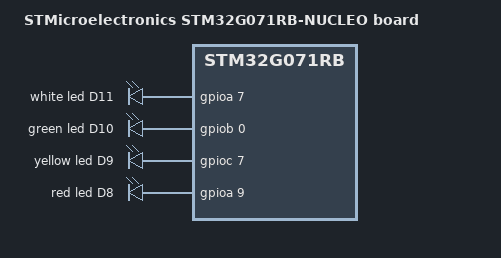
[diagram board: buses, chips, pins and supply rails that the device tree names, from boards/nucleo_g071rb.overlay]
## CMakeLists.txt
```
cmake_minimum_required(VERSION 3.20.0)

find_package(Zephyr REQUIRED HINTS $ENV{ZEPHYR_BASE}) 
project(thread_app)

# if (CONFIG_BUILD_MAIN_APP)
#     target_sources(app PRIVATE src/main.c)
#     message(STATUS "Building main application")
# else()
#   message(FATAL_ERROR "Main application build is disabled. Set CONFIG_BUILD_MAIN_APP=y in prj.conf.")
# endif()

zephyr_library_sources_ifdef(CONFIG_BUILD_MAIN_APP src/main.c)

zephyr_library_sources_ifdef(CONFIG_BUILD_THREAD_APP src/thread.c)
```

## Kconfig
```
config BUILD_MAIN_APP
    bool "build main application"
    default n
    help
        Build the main application.

config BUILD_THREAD_APP
    bool "build thread application"
    default n
    help
        Build the Thread application.

source "Kconfig.zephyr"
```

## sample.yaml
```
# Sample configuration for a Thread application using Zephyr RTOS
sample:
  description: A Thread application demonstrating basic functionality
  name: Thread Application Sample
tests:
  sample.thread_app:
    tags:
      - gpio
    filter: dt_enabled_alias_with_parent_compat("led0", "gpio-leds") and
            dt_enabled_alias_with_parent_compat("led1", "gpio-leds")
            dt_enabled_alias_with_parent_compat("led2", "gpio-leds") and
            dt_enabled_alias_with_parent_compat("led3", "gpio-leds")
    integration_platforms:
      - nrf52840dk/nrf52840
      - nucleo_g071rb

# west build -p -b nucleo_g071rb thread_app/

# west build -p -b nrf52840dk/nrf52840 thread_app/
# west flash --runner jlink  
```

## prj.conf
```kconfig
# Enable GPIO
CONFIG_GPIO=y

# Enable Thread support
CONFIG_BUILD_MAIN_APP=n
CONFIG_BUILD_THREAD_APP=y
```

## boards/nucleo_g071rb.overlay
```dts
/{
    model = "STMicroelectronics STM32G071RB-NUCLEO board";
	compatible = "st,stm32g071rb-nucleo";
    
    leds: leds {
        compatible = "gpio-leds";
        white: led_0 {
            gpios = <&gpioa 7 GPIO_ACTIVE_HIGH>;
            label = " white led D11";
        };
    
        green: led_1 {
			gpios = <&gpiob 0 GPIO_ACTIVE_HIGH>;
			label = "green led D10";
		};
        yellow: led_2 {
           gpios = <&gpioc 7 GPIO_ACTIVE_HIGH>;
            label = "yellow led D9";
        };

        red: led_3 {
            gpios = <&gpioa 9 GPIO_ACTIVE_HIGH>;
            label = " red led D8";
        };
    };

    aliases {
        led0 = &white;
        led1 = &green;
        led2 = &yellow;
        led3 = &red;
    };
};
```

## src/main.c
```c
#include <stdio.h>
#include <zephyr/kernel.h>
#include <zephyr/drivers/gpio.h>
#include <zephyr/sys/printk.h>

#define STACKSIZE 256


#define SLEEP_TIME_MS   1000

/* get devicetree node identifier through alias. */
#define LED0_NODE DT_ALIAS(led0)
#define LED1_NODE DT_ALIAS(led1)
#define LED2_NODE DT_ALIAS(led2)
#define LED3_NODE DT_ALIAS(led3)
// or alternatively #define LEDx_NODE DT_NODELABEL(color)

#if !DT_NODE_HAS_STATUS_OKAY(LED0_NODE) || \
	!DT_NODE_HAS_STATUS_OKAY(LED1_NODE) || \
	!DT_NODE_HAS_STATUS_OKAY(LED2_NODE) || \
	!DT_NODE_HAS_STATUS_OKAY(LED3_NODE)
#error "Unsupported board: led devicetree alias is not defined"
#endif

static const struct gpio_dt_spec white = GPIO_DT_SPEC_GET(LED0_NODE, gpios);
static const struct gpio_dt_spec green = GPIO_DT_SPEC_GET(LED1_NODE, gpios);
static const struct gpio_dt_spec yellow = GPIO_DT_SPEC_GET(LED2_NODE, gpios);
static const struct gpio_dt_spec red = GPIO_DT_SPEC_GET(LED3_NODE, gpios);


int main(void)
{
	int ret;
	bool led_state = true;

	/* configure GPIO pins for LEDs */

	if (!gpio_is_ready_dt(&yellow)) {

		printk("LED YELLOW not working ");

		return 0;
	}

	if (!gpio_is_ready_dt(&green)) {

		printk("LED GREEN not working ");

		return 0;
	}

	if (!gpio_is_ready_dt(&red)) {

		printk("LED RED not working ");

		return 0;
	}

	if (!gpio_is_ready_dt(&white)) {
		printk("LED WHITE not working ");

		return 0;
	}

	/* Set GPIO pins as outputs */

	ret = gpio_pin_configure_dt(&yellow, GPIO_OUTPUT_ACTIVE); // GPIO_OUTPUT_INACTIVE
	if (ret < 0) {

		printk("---- LED YELLOW configuration failed ---- ");
		return 0;
	}

	ret = gpio_pin_configure_dt(&green, GPIO_OUTPUT_ACTIVE);
	if (ret < 0) {
		printk("---- LED GREEN configuration failed ---- ");

		return 0;
	}

	ret = gpio_pin_configure_dt(&red, GPIO_OUTPUT_ACTIVE);
	if (ret < 0) {
		printk("---- LED RED configuration failed ---- ");
		return 0;
	}

	ret = gpio_pin_configure_dt(&white, GPIO_OUTPUT_ACTIVE);
	if (ret < 0) {

		printk("---- LED WHITE configuration failed ---- ");

		return 0;
	}


	while (1) {
		ret = gpio_pin_toggle_dt(&yellow);
		if (ret < 0) {

			printk("***** LED YELLOW not toggled****");
			return 0;
		}
		k_msleep(SLEEP_TIME_MS); // blink every 1 second

		ret = gpio_pin_toggle_dt(&green);
		if (ret < 0) {

			printk("***** LED GREEN not toggled****");
			return 0;
		}
		k_msleep(2 * SLEEP_TIME_MS); // blink every 2 seconds

		ret = gpio_pin_toggle_dt(&red);
		if (ret < 0) {

			printk("***** LED RED not toggled****");
			return 0;
		}
		k_msleep(3 * SLEEP_TIME_MS); // blink every 3 seconds

		ret = gpio_pin_toggle_dt(&white);
		if (ret < 0) {

			printk("***** LED WHITE not toggled****");
			return 0;
		}

		led_state = !led_state;
		printk("LED state: %s\n", led_state ? "ON" : "OFF");
		k_msleep(4 * SLEEP_TIME_MS); // blink every 4 seconds
	}

	return 0;
}
```

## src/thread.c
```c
#include <stdio.h>
#include <zephyr/kernel.h>
#include <zephyr/drivers/gpio.h>
#include <zephyr/sys/printk.h>

#define STACKSIZE 256

/* priority of each thread */
// #define THREAD0_PRIORITY 4
// #define THREAD1_PRIORITY 5
// #define THREAD2_PRIORITY 6
// #define THREAD3_PRIORITY 7
#define THREAD_PRIORITY 2

#define SLEEP_TIME_MS   1000

/* get devicetree node identifier through alias. */
#define LED0_NODE DT_ALIAS(led0)
#define LED1_NODE DT_ALIAS(led1)
#define LED2_NODE DT_ALIAS(led2)
#define LED3_NODE DT_ALIAS(led3)
// or  #define LED_NODE DT_NODELABEL(yellow)

#if !DT_NODE_HAS_STATUS_OKAY(LED0_NODE) || \
	!DT_NODE_HAS_STATUS_OKAY(LED1_NODE) || \
	!DT_NODE_HAS_STATUS_OKAY(LED2_NODE) || \
	!DT_NODE_HAS_STATUS_OKAY(LED3_NODE)
#error "Unsupported board: led devicetree alias is not defined"
#endif

static const struct gpio_dt_spec white = GPIO_DT_SPEC_GET(LED0_NODE, gpios);
static const struct gpio_dt_spec green = GPIO_DT_SPEC_GET(LED1_NODE, gpios);
static const struct gpio_dt_spec yellow = GPIO_DT_SPEC_GET(LED2_NODE, gpios);
static const struct gpio_dt_spec red = GPIO_DT_SPEC_GET(LED3_NODE, gpios);


void thread0(void)
{	
	int ret;
	bool led_state = true;

	if (!gpio_is_ready_dt(&white)) {
		printk("LED WHITE not working ");
	}

	ret = gpio_pin_configure_dt(&white, GPIO_OUTPUT_ACTIVE);
	if (ret < 0) {
		printk("---- LED WHITE configuration failed ---- ");
	}

	while (1) {

          printk("Hello, I am thread0\n");

		  ret = gpio_pin_toggle_dt(&white);

		  if (ret < 0) {

			printk("***** LED WHITE not toggled****");
		}

		led_state = !led_state;
		printk(" 1 - LED WHITE state: %s\n", led_state ? "ON" : "OFF");
		k_msleep(SLEEP_TIME_MS);
	}
}

void thread1(void)
{

	int ret;
	bool led_state = true;

	if (!gpio_is_ready_dt(&green)) {
		
		printk("LED GREEN not working ");
	}

	ret = gpio_pin_configure_dt(&green, GPIO_OUTPUT_ACTIVE);
	if (ret < 0) {
		printk("---- LED GREEN configuration failed ---- ");
	}

	while (1) {
        printk("Hello, I am thread1\n");

 		ret = gpio_pin_toggle_dt(&green);

		  if (ret < 0) {
			printk("***** LED GREEN not toggled****");
		}

		led_state = !led_state;
		printk("2 - LED GREEN state : %s\n", led_state ? "ON" : "OFF");
		k_msleep(SLEEP_TIME_MS*2);
	}
}

void thread2(void)
{
	int ret;
	bool led_state = true;

	if (!gpio_is_ready_dt(&yellow)) {

		printk("LED YELLOW not working ");
	}

	ret = gpio_pin_configure_dt(&yellow, GPIO_OUTPUT_ACTIVE);
	if (ret < 0) {
		printk("---- LED YELLOW configuration failed ---- ");
	}

	while (1) {

          printk("Hello, I am thread2\n");

		  ret = gpio_pin_toggle_dt(&yellow);

		  if (ret < 0) {
			printk("***** LED YELLOW not toggled****");
		}

		led_state = !led_state;
		printk("3 - LED YELLOW state: %s\n", led_state ? "ON" : "OFF");
		k_msleep(SLEEP_TIME_MS*3);
	}
}

void thread3(void)
{
	int ret;
	bool led_state = true;

	if (!gpio_is_ready_dt(&red)) {
		printk(" LED RED not working ");
	}

	ret = gpio_pin_configure_dt(&red, GPIO_OUTPUT_ACTIVE);
	if (ret < 0) {
		printk("---- LED RED configuration failed ---- ");
	}

	while (1) {

          printk("Hello, I am thread3\n");

		  ret = gpio_pin_toggle_dt(&red);

		  if (ret < 0) {
			printk("***** LED RED not toggled****");
		}

		led_state = !led_state;
		printk("4 - LED RED state: %s\n", led_state ? "ON" : "OFF");
		k_msleep(SLEEP_TIME_MS*4);
	}
}

// behavior is the same with different priorities

K_THREAD_DEFINE(thread0_id, STACKSIZE, thread0, NULL, NULL, NULL,
		THREAD_PRIORITY, 0, 0);
K_THREAD_DEFINE(thread1_id, STACKSIZE, thread1, NULL, NULL, NULL,
		THREAD_PRIORITY, 0, 0);
K_THREAD_DEFINE(thread2_id, STACKSIZE, thread2, NULL, NULL, NULL,
		THREAD_PRIORITY, 0, 0);
K_THREAD_DEFINE(thread3_id, STACKSIZE, thread3, NULL, NULL, NULL,
		THREAD_PRIORITY, 0, 0);
```
